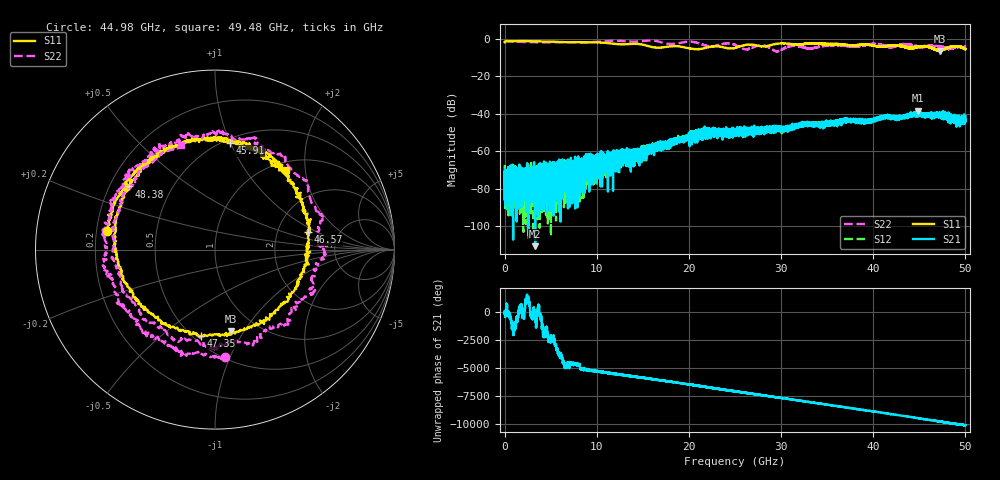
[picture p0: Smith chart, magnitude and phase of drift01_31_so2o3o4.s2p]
!Created with skrf (http://scikit-rf.org).
# Hz S RI R 50.0
!freq ReS11 ImS11 ReS21 ImS21 ReS12 ImS12 ReS22 ImS22
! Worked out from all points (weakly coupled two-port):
!   10001 points, 300 kHz to 50 GHz, reference 50 ohm
!   highest |S21| = -38.44 dB at 44.9 GHz (marker M1); lowest = -110.5 dB at 3.315 GHz (marker M2)
!   lowest |S11| = -6.7 dB at 47.2 GHz (marker M3), VSWR 2.72, Z = 37.8 - j43.7 ohm
!   |S11| at or under -10 dB: nowhere
!   |S22| runs from -6.9 to -1.0 dB; largest |S21 - S12| = 0.0041
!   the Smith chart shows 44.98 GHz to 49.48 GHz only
!   S11 on the Smith chart (normalised r, x): 44.98 GHz: 0.25, +0.08; 45.91 GHz: 0.53, +0.99; 46.57 GHz: 2.97, +0.81; 47.35 GHz: 0.55, -0.69; 48.38 GHz: 0.28, +0.30; 49.48 GHz: 1.16, +1.58
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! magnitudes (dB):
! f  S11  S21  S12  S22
! 300 kHz  -2.1  -70.7  -67.5  -1.3
! 255.3 MHz  -1.4  -76.3  -79.1  -1.4
! 3.315 GHz  -1.5  -110.5  -71.5  -2.0
! 8.335 GHz  -1.9  -70.2  -72.4  -2.1
! 16.67 GHz  -4.8  -56.3  -56.9  -1.6
! 21.68 GHz  -5.2  -51.4  -49.5  -3.5
! 25 GHz  -5.0  -49.6  -49.7  -3.4
! 26.19 GHz  -3.4  -49.3  -49.1  -5.7
! 28.09 GHz  -4.3  -49.0  -48.9  -3.8
! 29.52 GHz  -2.8  -48.7  -46.9  -6.7
! 31.26 GHz  -3.0  -47.0  -47.1  -3.9
! 33.34 GHz  -2.6  -45.0  -46.1  -5.4
! 41.67 GHz  -3.9  -41.8  -41.8  -4.5
! 44.9 GHz  -4.6  -38.4  -39.8  -4.4
! 44.98 GHz  -4.3  -39.8  -39.8  -4.4
! 45.91 GHz  -4.4  -41.0  -41.0  -4.1
! 46.57 GHz  -5.6  -42.4  -41.4  -3.8
! 47.2 GHz  -6.7  -39.5  -41.1  -4.4
! 47.35 GHz  -6.2  -41.3  -41.2  -4.6
! 48.38 GHz  -4.5  -42.9  -41.1  -5.5
! 49.48 GHz  -4.5  -42.2  -43.0  -4.3
! 50 GHz  -5.5  -41.3  -43.8  -4.2
